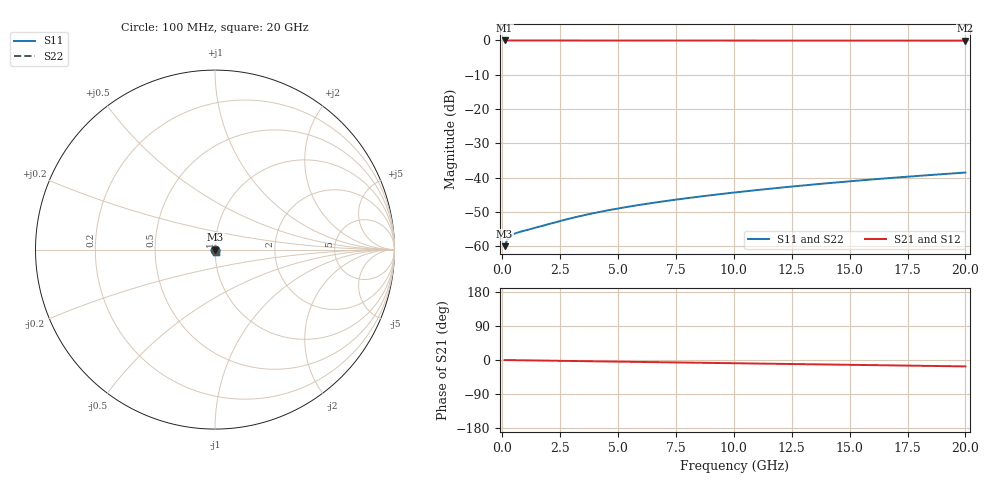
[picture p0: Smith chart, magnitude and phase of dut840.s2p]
! Touchstone file exported from HFSS 2026.1.0
!  File:  C:/ffzhzh/LocalFiles/Ansys_Project_Files/temp_train_BSMRDL_840_1783170390_51560.aedt
!  Generated:  09:07:37 PM Jul  4, 2026
!  Design:  BSMRDL
!  Project:  temp_train_BSMRDL_840_1783170390_51560
! Variables:
!  h_bsmrdl = 4.89um
!  h_ox = 20um
!  h_rdl = 5um
!  h_sub = 80um
!  h_tmrdl = 5um
!  h_tsv = 80um
!  h_via = 3um
!  l_bsmrdl = 290.13um
!  l_sub = 690.13um
!  l_tmrdl = 200um
!  m_sub = 200um
!  pitch = 34.98um
!  r_tsv = 6um
!  s_tmrdl = 10um
!  w_bsmrdl = 29.96um
!  w_sub = 500um
!  w_tmrdl = 12um
!  x_tsv_center1 = 206um
!  x_tsv_center2 = 526.09um
!  x_tsv_center3 = 738.09um
!  x_tsv_center4 = 1058.18um
!  x_tsv_center5 = 1270.18um
!  x_tsv_center6 = 1590.27um
# GHz S MA R 50.000000
! Terminal data exported
! Port[1] = BSM_RDL1_1_T1
! Port[2] = BSM_RDL1_1_T2
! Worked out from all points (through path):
!   200 points, 100 MHz to 20 GHz, reference 50 ohm
!   highest |S21| = -0.01 dB at 100 MHz (marker M1); lowest = -0.1 dB at 20 GHz (marker M2)
!   group delay of S21, straight-line fit = 2.33 ps
!   lowest |S11| = -60.0 dB at 100 MHz (marker M3), VSWR 1.00, Z = 50.1 + j0.0271 ohm
!   |S11| at or under -10 dB: start of sweep to end of sweep
!   |S22| runs from -60.0 to -38.5 dB; largest |S21 - S12| = 3.4e-15
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0.1  0.0009992 15.7  0.999 -0.1  0.999 -0.1  0.0009992 15.7
! Gamma 0 0 0 0
! Port Impedance 50 0 50 0
0.2  0.00121 18.9  0.9989 -0.2  0.9989 -0.2  0.00121 18.9
0.3  0.001355 18.0  0.9987 -0.3  0.9987 -0.3  0.001355 18.0
0.4  0.001445 16.6  0.9986 -0.4  0.9986 -0.4  0.001445 16.6
0.5  0.001505 15.6  0.9985 -0.5  0.9985 -0.5  0.001505 15.6
0.6  0.001552 15.0  0.9985 -0.5  0.9985 -0.5  0.001552 15.0
0.8  0.001627 14.3  0.9984 -0.7  0.9984 -0.7  0.001627 14.3
2.3  0.002233 11.7  0.9978 -2.0  0.9978 -2.0  0.002233 11.7
2.9  0.002518 8.7  0.9975 -2.5  0.9975 -2.5  0.002518 8.7
3.5  0.00281 4.9  0.9972 -3.1  0.9972 -3.1  0.00281 4.9
4.2  0.003153 0.1  0.9969 -3.7  0.9969 -3.7  0.003153 0.1
5  0.003544 -5.6  0.9965 -4.3  0.9965 -4.3  0.003543 -5.6
5.9  0.003983 -11.8  0.996 -5.1  0.996 -5.1  0.003982 -11.8
6.8  0.004423 -17.5  0.9957 -5.9  0.9957 -5.9  0.004422 -17.5
8.4  0.005221 -26.6  0.9951 -7.2  0.9951 -7.2  0.005219 -26.6
10.1  0.006099 -34.8  0.9945 -8.6  0.9945 -8.6  0.006096 -34.8
11.7  0.006957 -41.4  0.994 -10.0  0.994 -10.0  0.006954 -41.4
13.4  0.007903 -47.4  0.9936 -11.4  0.9936 -11.4  0.007899 -47.4
15  0.008822 -52.4  0.9931 -12.7  0.9931 -12.7  0.008817 -52.4
16.7  0.009824 -57.1  0.9927 -14.1  0.9927 -14.1  0.009819 -57.1
18.3  0.01079 -61.1  0.9923 -15.5  0.9923 -15.5  0.01078 -61.1
20  0.01183 -64.9  0.9919 -16.9  0.9919 -16.9  0.01183 -65.0
